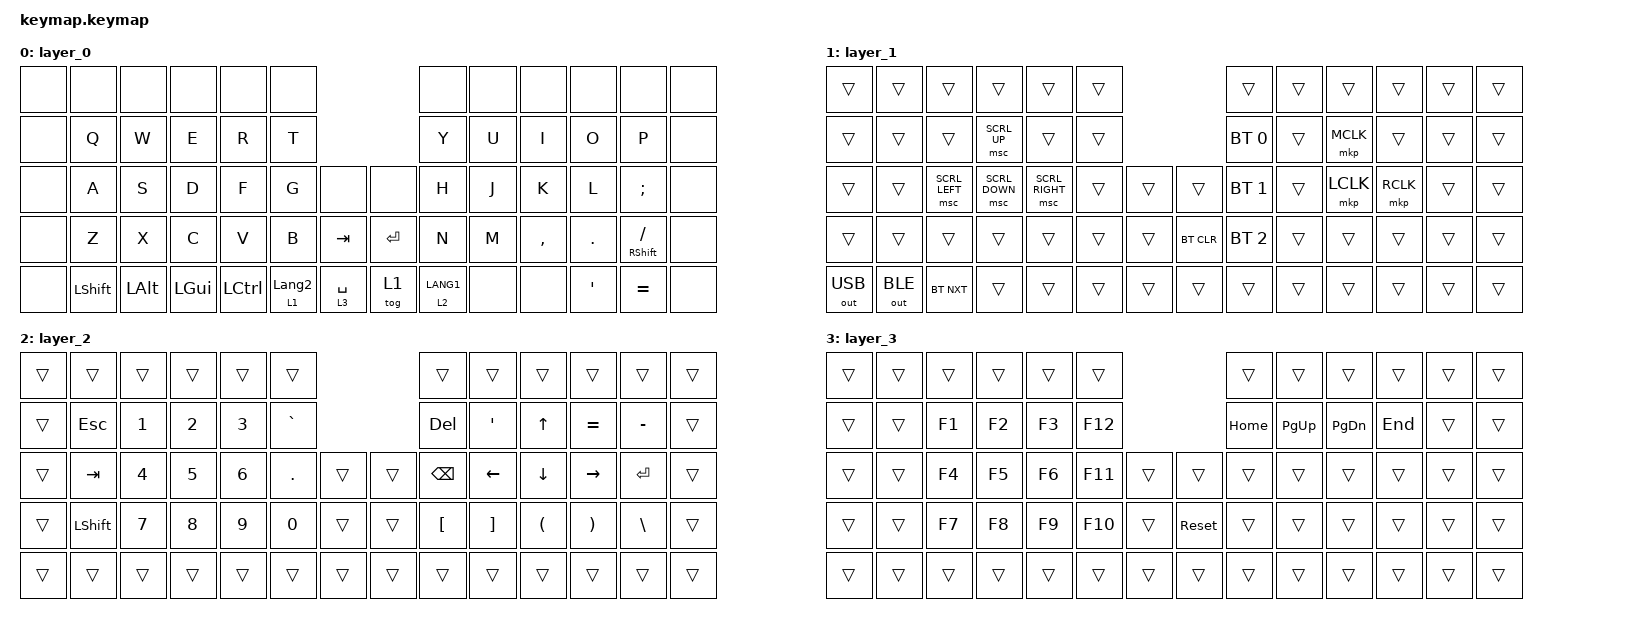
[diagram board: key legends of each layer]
#include <behaviors.dtsi>
#include <dt-bindings/zmk/bt.h>
#include <dt-bindings/zmk/keys.h>
#include <dt-bindings/zmk/outputs.h>
#include <dt-bindings/zmk/pointing.h>

&lt { tapping-term-ms = <150>; };

/ {
    combos {
        compatible = "zmk,combos";

        bt_clear {
            bindings = <&bt BT_CLR>;
            key-positions = <28 29>;
            layers = <2>;
        };
    };

    keymap {
        compatible = "zmk,keymap";

        layer_0 {
            bindings = <
&none  &none           &none         &none         &none      &none                                   &none        &none  &none      &none     &none                 &none
&none  &kp Q           &kp W         &kp E         &kp R      &kp T                                   &kp Y        &kp U  &kp I      &kp O     &kp P                 &none
&none  &kp A           &kp S         &kp D         &kp F      &kp G             &none        &none    &kp H        &kp J  &kp K      &kp L     &kp SEMI              &none
&none  &kp Z           &kp X         &kp C         &kp V      &kp B             &kp TAB      &kp RET  &kp N        &kp M  &kp COMMA  &kp DOT   &mt RIGHT_SHIFT FSLH  &none
&none  &kp LEFT_SHIFT  &kp LEFT_ALT  &kp LEFT_GUI  &kp LCTRL  &lt 1 LANGUAGE_2  &lt 3 SPACE  &tog 1   &lt 2 LANG1  &none  &none      &kp APOS  &kp EQUAL             &none
            >;
        };

        layer_1 {
            bindings = <
&trans        &trans        &trans          &trans          &trans           &trans                      &trans        &trans  &trans     &trans     &trans  &trans
&trans        &trans        &trans          &msc SCRL_UP    &trans           &trans                      &bt BT_SEL 0  &trans  &mkp MCLK  &trans     &trans  &trans
&trans        &trans        &msc SCRL_LEFT  &msc SCRL_DOWN  &msc SCRL_RIGHT  &trans  &trans  &trans      &bt BT_SEL 1  &trans  &mkp LCLK  &mkp RCLK  &trans  &trans
&trans        &trans        &trans          &trans          &trans           &trans  &trans  &bt BT_CLR  &bt BT_SEL 2  &trans  &trans     &trans     &trans  &trans
&out OUT_USB  &out OUT_BLE  &bt BT_NXT      &trans          &trans           &trans  &trans  &trans      &trans        &trans  &trans     &trans     &trans  &trans
            >;
        };

        layer_2 {
            bindings = <
&trans  &trans          &trans  &trans  &trans  &trans                      &trans            &trans             &trans          &trans           &trans         &trans
&trans  &kp ESC         &kp N1  &kp N2  &kp N3  &kp GRAVE                   &kp DEL           &kp SQT            &kp UP_ARROW    &kp EQUAL        &kp MINUS      &trans
&trans  &kp TAB         &kp N4  &kp N5  &kp N6  &kp PERIOD  &trans  &trans  &kp BACKSPACE     &kp LEFT_ARROW     &kp DOWN_ARROW  &kp RIGHT_ARROW  &kp RET        &trans
&trans  &kp LEFT_SHIFT  &kp N7  &kp N8  &kp N9  &kp N0      &trans  &trans  &kp LEFT_BRACKET  &kp RIGHT_BRACKET  &kp LPAR        &kp RPAR         &kp BACKSLASH  &trans
&trans  &trans          &trans  &trans  &trans  &trans      &trans  &trans  &trans            &trans             &trans          &trans           &trans         &trans
            >;
        };

        layer_3 {
            bindings = <
&trans  &trans  &trans  &trans  &trans  &trans                       &trans    &trans     &trans         &trans   &trans  &trans
&trans  &trans  &kp F1  &kp F2  &kp F3  &kp F12                      &kp HOME  &kp PG_UP  &kp PAGE_DOWN  &kp END  &trans  &trans
&trans  &trans  &kp F4  &kp F5  &kp F6  &kp F11  &trans  &trans      &trans    &trans     &trans         &trans   &trans  &trans
&trans  &trans  &kp F7  &kp F8  &kp F9  &kp F10  &trans  &sys_reset  &trans    &trans     &trans         &trans   &trans  &trans
&trans  &trans  &trans  &trans  &trans  &trans   &trans  &trans      &trans    &trans     &trans         &trans   &trans  &trans
            >;
        };
    };
};
